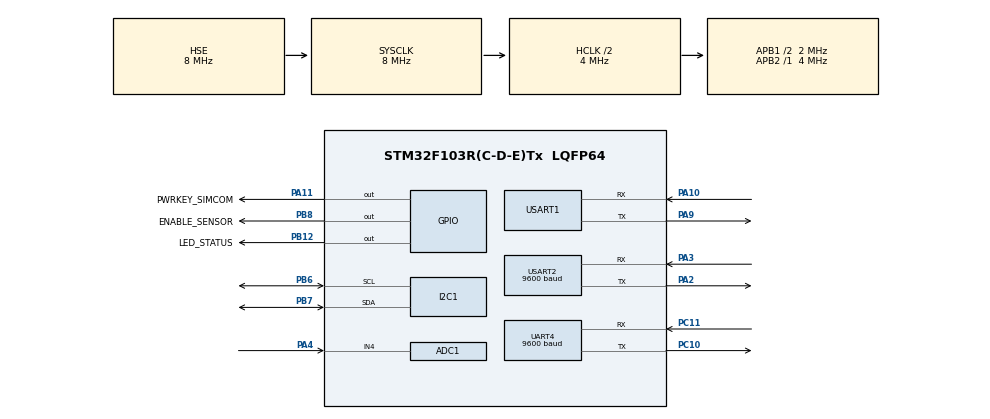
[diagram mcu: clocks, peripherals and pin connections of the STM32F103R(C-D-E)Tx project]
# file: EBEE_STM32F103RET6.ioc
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ADC1.Channel-0\#ChannelRegularConversion=ADC_CHANNEL_4
ADC1.ContinuousConvMode=ENABLE
ADC1.NbrOfConversion=1
ADC1.NbrOfConversionFlag=1
ADC1.Rank-0\#ChannelRegularConversion=1
ADC1.SamplingTime-0\#ChannelRegularConversion=ADC_SAMPLETIME_239CYCLES_5
ADC1.master=1
Dma.ADC1.0.Direction=DMA_PERIPH_TO_MEMORY
Dma.ADC1.0.Instance=DMA1_Channel1
Dma.ADC1.0.MemDataAlignment=DMA_MDATAALIGN_HALFWORD
Dma.ADC1.0.MemInc=DMA_MINC_ENABLE
Dma.ADC1.0.Mode=DMA_CIRCULAR
Dma.ADC1.0.PeriphDataAlignment=DMA_PDATAALIGN_HALFWORD
Dma.ADC1.0.PeriphInc=DMA_PINC_DISABLE
Dma.ADC1.0.Priority=DMA_PRIORITY_LOW
Dma.Request0=ADC1
Mcu.Family=STM32F1
Mcu.Name=STM32F103R(C-D-E)Tx
Mcu.Package=LQFP64
NVIC.ADC1_2_IRQn=true\:3\:0\:true\:false\:true\:true\:true\:true
NVIC.DMA1_Channel1_IRQn=true\:3\:0\:true\:false\:true\:false\:true\:true
NVIC.PriorityGroup=NVIC_PRIORITYGROUP_4
NVIC.TIM6_IRQn=true\:3\:0\:false\:false\:true\:true\:true\:true
NVIC.TIM7_IRQn=true\:3\:0\:false\:false\:true\:true\:true\:true
NVIC.UART4_IRQn=true\:2\:0\:false\:false\:true\:true\:true\:true
NVIC.USART1_IRQn=true\:0\:0\:false\:false\:true\:true\:true\:true
NVIC.USART2_IRQn=true\:2\:0\:false\:false\:true\:true\:true\:true
PA10.Mode=Asynchronous
PA10.Signal=USART1_RX
PA11.GPIO_Label=PWRKEY_SIMCOM
PA11.Signal=GPIO_Output
PA13.Mode=Trace_Asynchronous_SW
PA13.Signal=SYS_JTMS-SWDIO
PA14.Mode=Trace_Asynchronous_SW
PA14.Signal=SYS_JTCK-SWCLK
PA2.GPIO_Mode=GPIO_MODE_AF_PP
PA2.GPIO_Speed=GPIO_SPEED_FREQ_LOW
PA2.Mode=Asynchronous
PA2.Signal=USART2_TX
PA3.Mode=Asynchronous
PA3.Signal=USART2_RX
PA4.Signal=ADCx_IN4
PA9.Mode=Asynchronous
PA9.Signal=USART1_TX
PB12.GPIO_Label=LED_STATUS
PB12.Signal=GPIO_Output
PB3.Mode=Trace_Asynchronous_SW
PB3.Signal=SYS_JTDO-TRACESWO
PB6.Mode=I2C
PB6.Signal=I2C1_SCL
PB7.Mode=I2C
PB7.Signal=I2C1_SDA
PB8.GPIO_Label=ENABLE_SENSOR
PB8.Signal=GPIO_Output
PC10.Mode=Asynchronous
PC10.Signal=UART4_TX
PC11.Mode=Asynchronous
PC11.Signal=UART4_RX
PD0-OSC_IN.Mode=HSE-External-Oscillator
PD0-OSC_IN.Signal=RCC_OSC_IN
PD1-OSC_OUT.Mode=HSE-External-Oscillator
PD1-OSC_OUT.Signal=RCC_OSC_OUT
ProjectManager.HeapSize=0x200
ProjectManager.StackSize=0x400
ProjectManager.TargetToolchain=STM32CubeIDE
RCC.ADCPresc=RCC_ADCPCLK2_DIV6
RCC.AHBCLKDivider=RCC_SYSCLK_DIV2
RCC.AHBFreq_Value=4000000
RCC.APB1CLKDivider=RCC_HCLK_DIV2
RCC.APB1Freq_Value=2000000
RCC.APB1TimFreq_Value=4000000
RCC.APB2Freq_Value=4000000
RCC.APB2TimFreq_Value=4000000
RCC.HCLKFreq_Value=4000000
RCC.PLLSourceVirtual=RCC_PLLSOURCE_HSE
RCC.SYSCLKFreq_VALUE=8000000
RCC.SYSCLKSource=RCC_SYSCLKSOURCE_HSE
RCC.USBFreq_Value=16000000
SH.ADCx_IN4.0=ADC1_IN4,IN4
TIM6.Period=999
TIM6.Prescaler=3999
TIM7.Period=9999
TIM7.Prescaler=59999
UART4.BaudRate=9600
UART4.VirtualMode=Asynchronous
USART1.VirtualMode=VM_ASYNC
USART2.BaudRate=9600
USART2.VirtualMode=VM_ASYNC
VP_TIM6_VS_ClockSourceINT.Mode=Enable_Timer
VP_TIM7_VS_ClockSourceINT.Mode=Enable_Timer
board=custom

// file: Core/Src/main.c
/* USER CODE BEGIN Header */
/**
  ******************************************************************************
  * @file           : main.c
  * @brief          : Main program body
  ******************************************************************************
  * @attention
  *
  * Copyright (c) 2025 STMicroelectronics.
  * All rights reserved.
  *
  * This software is licensed under terms that can be found in the LICENSE file
  * in the root directory of this software component.
  * If no LICENSE file comes with this software, it is provided AS-IS.
  *
  ******************************************************************************
  */
/* USER CODE END Header */
#include "main.h"
#include "adc.h"
#include "dma.h"
#include "i2c.h"
#include "tim.h"
#include "usart.h"
#include "gpio.h"

/* USER CODE BEGIN Includes */
#include "device_config.h"
#include "ota_update.h"

/* USER CODE END Includes */

/* USER CODE BEGIN PTD */
int _write(int file, char *ptr, int len) {
#if ENABLE_DEBUG
  int i;
  for (i = 0; i < len; i++) {
    ITM_SendChar(*ptr++);
  }
#else
  (void)file;
  (void)ptr;
#endif
  return len;
}

/* USER CODE END PTD */

/* USER CODE BEGIN PM */
int test=0;
/* USER CODE END PM */

/* USER CODE BEGIN PV */
uint16_t adc_valve[5];
unsigned char command_co2_test[9] = { 0xFF, 0x01, 0x86, 0x00, 0x00, 0x00, 0x00, 0x00, 0x79 };
float send_data_co2_test(uint8_t *data, char *data_log)
{
  printf("Read data CO2 form %s\r\n", data_log);
  memset(rx_uart2, '\0', 10);
  HAL_Delay(200);
  HAL_UART_Transmit(&huart2, data, 9, 500);
  HAL_Delay(500);
  return 1;
}

/* USER CODE END PV */

void SystemClock_Config(void);

/* USER CODE BEGIN 0 */
volatile bool to_start_ota = false;
volatile bool ota_non_modem_io_paused = false;

static bool s_tim6_was_running;
static bool s_tim7_was_running;

static void pause_non_ota_io(void) {
  s_tim6_was_running = (htim6.Instance->CR1 & TIM_CR1_CEN) != 0U;
  s_tim7_was_running = (htim7.Instance->CR1 & TIM_CR1_CEN) != 0U;
  ota_non_modem_io_paused = true;
  to_send_status_to_server = false;

  HAL_TIM_Base_Stop_IT(&htim6);
  HAL_TIM_Base_Stop_IT(&htim7);
  HAL_UART_AbortReceive(&huart2);
  HAL_UART_AbortReceive(&huart4);
  __HAL_UART_CLEAR_OREFLAG(&huart2);
  __HAL_UART_CLEAR_OREFLAG(&huart4);
}

static void resume_non_ota_io(void) {
  __HAL_UART_CLEAR_OREFLAG(&huart2);
  __HAL_UART_CLEAR_OREFLAG(&huart4);
  ota_non_modem_io_paused = false;
  HAL_UARTEx_ReceiveToIdle_IT(&huart2, (uint8_t *)rx_uart2,
                             sizeof(rx_uart2) - 1U);
  HAL_UARTEx_ReceiveToIdle_IT(&huart4, (uint8_t *)rx_buffer_sensor_uart,
                             sizeof(rx_buffer_sensor_uart));

  __HAL_TIM_CLEAR_FLAG(&htim6, TIM_FLAG_UPDATE);
  __HAL_TIM_CLEAR_FLAG(&htim7, TIM_FLAG_UPDATE);
  if (s_tim6_was_running) {
    HAL_TIM_Base_Start_IT(&htim6);
  }
  if (s_tim7_was_running) {
    HAL_TIM_Base_Start_IT(&htim7);
  }
}

/* USER CODE END 0 */

int main(void)
{

  /* MCU Configuration--------------------------------------------------------*/

  /* Reset of all peripherals, Initializes the Flash interface and the Systick. */
  HAL_Init();

  /* Configure the system clock */
  SystemClock_Config();

  /* Initialize all configured peripherals */
  MX_GPIO_Init();
  MX_DMA_Init();
  MX_UART4_Init();
  MX_USART1_UART_Init();
  MX_USART2_UART_Init();
  MX_ADC1_Init();
  MX_TIM6_Init();
  MX_TIM7_Init();
  MX_I2C1_Init();
  /* USER CODE BEGIN 2 */
  HAL_UARTEx_ReceiveToIdle_IT(&huart1, (uint8_t *)rx_buffer_simcom, 700);
  HAL_UARTEx_ReceiveToIdle_IT(&huart4, (uint8_t *)rx_buffer_sensor_uart,
                             sizeof(rx_buffer_sensor_uart));
  HAL_UARTEx_ReceiveToIdle_IT(&huart2, (uint8_t *)rx_uart2, 9);
  ota_init();
  HAL_TIM_Base_Start_IT(&htim6);
  HAL_ADC_Start_DMA(&hadc1, (uint32_t *)adc_valve, 1);
  HAL_GPIO_WritePin(GPIOB, LED_STATUS_Pin|ENABLE_SENSOR_Pin, GPIO_PIN_SET);
  {
    const device_config_t *device_config = device_config_get();
    if (device_config != NULL) {
      printf("[CONFIG] factory configuration valid serial=%s client_id=%s\r\n",
             device_config->serial_number, device_config->mqtt_client_id);
    } else {
      printf("[CONFIG] ERROR: flash bootloader with factory settings first\r\n");
    }
  }
  /* USER CODE END 2 */

  /* Infinite loop */
  while (1)
  {

    /* USER CODE BEGIN 3 */
//	  test++;
//	    HAL_Delay(1000);
      if (to_start_ota && current_status_simcom == Subscribed)
      {
        ota_result_t ota_result;
        bool ota_ack_sent = false;

        to_start_ota = false;
        pause_non_ota_io();
        printf("[OTA] MQTT request accepted and queued (modem_state=%d)\r\n",
               (int)current_status_simcom);
        for (uint8_t attempt = 1U; attempt <= 3U; attempt++) {
          printf("[OTA] ACK attempt %u/3\r\n", attempt);
          if (publish_ota_ack_via_gsm()) {
            ota_ack_sent = true;
            break;
          }
          HAL_Delay(250U);
        }
        if (!ota_ack_sent) {
          printf("[OTA] ACK unavailable; continuing update check\r\n");
        }
        printf("[OTA] starting update check\r\n");
        ota_result = ota_check_and_download();
        if (ota_result == OTA_RESULT_OK)
        {
          printf("[OTA] image verified; resetting to bootloader\r\n");
          HAL_Delay(500);
          NVIC_SystemReset();
        }
        else if (ota_result == OTA_RESULT_NO_UPDATE)
        {
          resume_non_ota_io();
          printf("[OTA] firmware is already current\r\n");
        }
        else if (ota_result == OTA_RESULT_BUSY)
        {
          resume_non_ota_io();
          printf("[OTA] update is already running\r\n");
        }
        else
        {
          resume_non_ota_io();
          printf("[OTA] update failed\r\n");
        }
      }
      else
      {
        check_handle_state(current_status_simcom);
      }
  }
  /* USER CODE END 3 */
}

void SystemClock_Config(void)
{
  RCC_OscInitTypeDef RCC_OscInitStruct = {0};
  RCC_ClkInitTypeDef RCC_ClkInitStruct = {0};
  RCC_PeriphCLKInitTypeDef PeriphClkInit = {0};

  /** Initializes the RCC Oscillators according to the specified parameters
  * in the RCC_OscInitTypeDef structure.
  */
  RCC_OscInitStruct.OscillatorType = RCC_OSCILLATORTYPE_HSE;
  RCC_OscInitStruct.HSEState = RCC_HSE_ON;
  RCC_OscInitStruct.PLL.PLLState = RCC_PLL_NONE;
  if (HAL_RCC_OscConfig(&RCC_OscInitStruct) != HAL_OK)
  {
    Error_Handler();
  }

  /** Initializes the CPU, AHB and APB buses clocks
  */
  RCC_ClkInitStruct.ClockType = RCC_CLOCKTYPE_HCLK|RCC_CLOCKTYPE_SYSCLK
                              |RCC_CLOCKTYPE_PCLK1|RCC_CLOCKTYPE_PCLK2;
  RCC_ClkInitStruct.SYSCLKSource = RCC_SYSCLKSOURCE_HSE;
  RCC_ClkInitStruct.AHBCLKDivider = RCC_SYSCLK_DIV2;
  RCC_ClkInitStruct.APB1CLKDivider = RCC_HCLK_DIV2;
  RCC_ClkInitStruct.APB2CLKDivider = RCC_HCLK_DIV1;

  if (HAL_RCC_ClockConfig(&RCC_ClkInitStruct, FLASH_LATENCY_0) != HAL_OK)
  {
    Error_Handler();
  }
  PeriphClkInit.PeriphClockSelection = RCC_PERIPHCLK_ADC;
  PeriphClkInit.AdcClockSelection = RCC_ADCPCLK2_DIV6;
  if (HAL_RCCEx_PeriphCLKConfig(&PeriphClkInit) != HAL_OK)
  {
    Error_Handler();
  }
}

void Error_Handler(void)
{
  __disable_irq();
  while (1)
  {
  }
}
